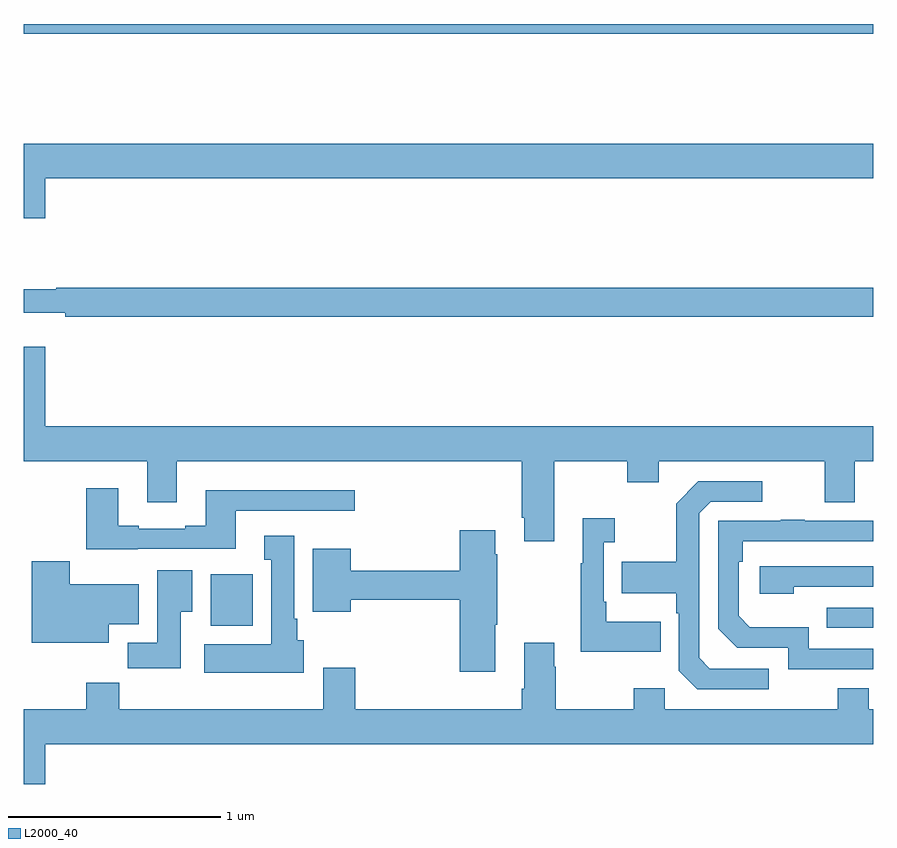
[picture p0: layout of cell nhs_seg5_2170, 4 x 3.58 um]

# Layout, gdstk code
import gdstk
lib = gdstk.Library(unit=1e-6, precision=1e-09)
def R(c, l, rs):  # rectangles x0, y0, x1, y1
    for r in rs: c.add(gdstk.rectangle(r[:2], r[2:], *l))
def P(c, l, *ps):  # polygons
    for p in ps: c.add(gdstk.Polygon(p, *l))
L2000_40 = (2000, 40)

nhs_seg5_2170 = lib.new_cell('nhs_seg5_2170')
R(nhs_seg5_2170, L2000_40, [(240.781,875.955,241,876.051), (237.881,875.966,238.078,876.208), (237,878.752,241,878.799)])
P(nhs_seg5_2170, L2000_40, [(237.1,878.072),(241,878.072),(241,878.236),(237,878.236),(237,877.884),(237.1,877.884)],
  [(241,877.556),(237.152,877.556),(237.152,877.549),(237,877.549),(237,877.439),(237.196,877.439),(237.196,877.42),(241,877.42)],
  [(239.497,876.74),(239.842,876.74),(239.842,876.641),(239.989,876.641),(239.989,876.74),(240.773,876.74),(240.773,876.546),(240.913,876.546),(240.913,876.74),(241,876.74),(241,876.904),(237.1,876.904),(237.1,877.279),(237,877.279),(237,876.74),(237.581,876.74),(237.581,876.546),(237.721,876.546),(237.721,876.74),(239.345,876.74),(239.345,876.475),(239.357,876.475),(239.357,876.363),(239.497,876.363)],
  [(240.508,875.763),(240.231,875.763),(240.18,875.814),(240.18,876.495),(240.234,876.549),(240.478,876.549),(240.478,876.645),(240.177,876.645),(240.072,876.539),(240.072,876.267),(239.815,876.267),(239.815,876.119),(240.072,876.119),(240.072,876.023),(240.084,876.023),(240.084,875.754),(240.171,875.667),(240.508,875.667)],
  [(237.537,876.327),(237.997,876.327),(237.997,876.507),(238.558,876.507),(238.558,876.604),(237.857,876.604),(237.857,876.436),(237.761,876.436),(237.761,876.423),(237.541,876.423),(237.541,876.436),(237.445,876.436),(237.445,876.613),(237.293,876.613),(237.293,876.326),(237.537,876.326)],
  [(239.999,875.983),(239.743,875.983),(239.743,876.079),(239.73,876.079),(239.73,876.359),(239.782,876.359),(239.782,876.472),(239.633,876.472),(239.633,876.259),(239.622,876.259),(239.622,875.843),(239.999,875.843)],
  [(241,875.856),(240.696,875.856),(240.696,875.959),(240.419,875.959),(240.366,876.012),(240.366,876.266),(240.386,876.266),(240.386,876.363),(241,876.363),(241,876.459),(240.677,876.459),(240.677,876.464),(240.565,876.464),(240.565,876.459),(240.27,876.459),(240.27,875.952),(240.36,875.862),(240.6,875.862),(240.6,875.76),(241,875.76)],
  [(239.221,875.971),(239.229,875.971),(239.229,876.302),(239.221,876.302),(239.221,876.415),(239.054,876.415),(239.054,876.224),(238.54,876.224),(238.54,876.328),(238.361,876.328),(238.361,876.032),(238.54,876.032),(238.54,876.088),(239.054,876.088),(239.054,875.748),(239.221,875.748)],
  [(238.318,875.898),(238.288,875.898),(238.288,875.998),(238.273,875.998),(238.273,876.388),(238.133,876.388),(238.133,876.275),(238.166,876.275),(238.166,875.878),(237.849,875.878),(237.849,875.744),(238.318,875.744)],
  [(237.4,875.972),(237.541,875.972),(237.541,876.16),(237.216,876.16),(237.216,876.268),(237.038,876.268),(237.038,875.885),(237.4,875.885)],
  [(240.626,876.15),(241,876.15),(241,876.246),(240.465,876.246),(240.465,876.116),(240.626,876.116)],
  [(237.739,876.032),(237.793,876.032),(237.793,876.226),(237.629,876.226),(237.629,875.884),(237.49,875.884),(237.49,875.766),(237.739,875.766)],
  [(241,875.572),(240.979,875.572),(240.979,875.671),(240.832,875.671),(240.832,875.572),(240.018,875.572),(240.018,875.671),(239.872,875.671),(239.872,875.572),(239.505,875.572),(239.505,875.771),(239.497,875.771),(239.497,875.884),(239.357,875.884),(239.357,875.668),(239.345,875.668),(239.345,875.572),(238.562,875.572),(238.562,875.767),(238.409,875.767),(238.409,875.572),(237.449,875.572),(237.449,875.696),(237.293,875.696),(237.293,875.572),(237,875.572),(237,875.22),(237.1,875.22),(237.1,875.408),(241,875.408)])

lib.write_gds('nhs_seg5_2170.gds')
